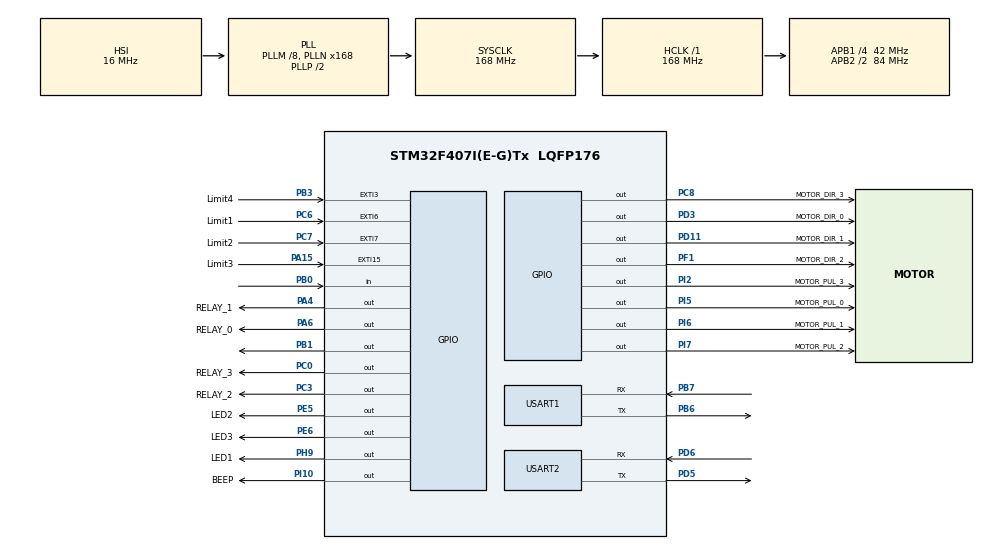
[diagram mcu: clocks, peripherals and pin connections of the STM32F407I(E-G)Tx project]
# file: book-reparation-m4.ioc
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FREERTOS.Tasks01=defaultTask,0,128,StartDefaultTask,Default,NULL,Dynamic,NULL,NULL;limitTask,-3,128,LimitTask,Default,NULL,Dynamic,NULL,NULL
Mcu.Family=STM32F4
Mcu.Name=STM32F407I(E-G)Tx
Mcu.Package=LQFP176
NVIC.EXTI15_10_IRQn=true\:5\:0\:false\:false\:true\:true\:true\:true
NVIC.EXTI3_IRQn=true\:5\:0\:false\:false\:true\:true\:true\:true
NVIC.EXTI9_5_IRQn=true\:5\:0\:true\:false\:true\:true\:true\:true
NVIC.PriorityGroup=NVIC_PRIORITYGROUP_4
NVIC.TIM4_IRQn=true\:0\:0\:false\:false\:true\:false\:false\:true
NVIC.TimeBase=TIM4_IRQn
NVIC.TimeBaseIP=TIM4
NVIC.USART1_IRQn=true\:5\:0\:true\:false\:true\:false\:true\:true
PA13.Mode=Serial_Wire
PA13.Signal=SYS_JTMS-SWDIO
PA14.Mode=Serial_Wire
PA14.Signal=SYS_JTCK-SWCLK
PA15.GPIO_Label=Limit3
PA15.GPIO_ModeDefaultEXTI=GPIO_MODE_IT_FALLING
PA15.GPIO_PuPd=GPIO_PULLUP
PA15.Signal=GPXTI15
PA4.GPIO_Label=RELAY_1
PA4.GPIO_Speed=GPIO_SPEED_FREQ_HIGH
PA4.Signal=GPIO_Output
PA6.GPIO_Label=RELAY_0
PA6.GPIO_Speed=GPIO_SPEED_FREQ_HIGH
PA6.Signal=GPIO_Output
PB0.GPIO_PuPd=GPIO_PULLUP
PB0.Signal=GPIO_Input
PB1.GPIO_PuPd=GPIO_NOPULL
PB1.GPIO_Speed=GPIO_SPEED_FREQ_HIGH
PB1.PinState=GPIO_PIN_RESET
PB1.Signal=GPIO_Output
PB3.GPIO_Label=Limit4
PB3.GPIO_ModeDefaultEXTI=GPIO_MODE_IT_FALLING
PB3.GPIO_PuPd=GPIO_PULLUP
PB3.Signal=GPXTI3
PB6.GPIO_Speed=GPIO_SPEED_FREQ_HIGH
PB6.Mode=Asynchronous
PB6.Signal=USART1_TX
PB7.GPIO_Speed=GPIO_SPEED_FREQ_HIGH
PB7.Mode=Asynchronous
PB7.Signal=USART1_RX
PC0.GPIO_Label=RELAY_3
PC0.GPIO_Speed=GPIO_SPEED_FREQ_HIGH
PC0.Signal=GPIO_Output
PC3.GPIO_Label=RELAY_2
PC3.GPIO_Speed=GPIO_SPEED_FREQ_HIGH
PC3.Signal=GPIO_Output
PC6.GPIO_Label=Limit1
PC6.GPIO_ModeDefaultEXTI=GPIO_MODE_IT_FALLING
PC6.GPIO_PuPd=GPIO_PULLUP
PC6.Signal=GPXTI6
PC7.GPIO_Label=Limit2
PC7.GPIO_ModeDefaultEXTI=GPIO_MODE_IT_FALLING
PC7.GPIO_PuPd=GPIO_PULLUP
PC7.Signal=GPXTI7
PC8.GPIO_Label=MOTOR_DIR_3
PC8.GPIO_Speed=GPIO_SPEED_FREQ_HIGH
PC8.PinState=GPIO_PIN_SET
PC8.Signal=GPIO_Output
PD11.GPIO_Label=MOTOR_DIR_1
PD11.GPIO_Speed=GPIO_SPEED_FREQ_HIGH
PD11.PinState=GPIO_PIN_SET
PD11.Signal=GPIO_Output
PD3.GPIO_Label=MOTOR_DIR_0
PD3.GPIO_Speed=GPIO_SPEED_FREQ_HIGH
PD3.PinState=GPIO_PIN_SET
PD3.Signal=GPIO_Output
PD5.Mode=Asynchronous
PD5.Signal=USART2_TX
PD6.Mode=Asynchronous
PD6.Signal=USART2_RX
PE5.GPIO_Label=LED2
PE5.GPIO_Speed=GPIO_SPEED_FREQ_HIGH
PE5.PinState=GPIO_PIN_SET
PE5.Signal=GPIO_Output
PE6.GPIO_Label=LED3
PE6.GPIO_Speed=GPIO_SPEED_FREQ_HIGH
PE6.PinState=GPIO_PIN_SET
PE6.Signal=GPIO_Output
PF1.GPIO_Label=MOTOR_DIR_2
PF1.GPIO_Speed=GPIO_SPEED_FREQ_HIGH
PF1.PinState=GPIO_PIN_SET
PF1.Signal=GPIO_Output
PH9.GPIO_Label=LED1
PH9.GPIO_Speed=GPIO_SPEED_FREQ_HIGH
PH9.PinState=GPIO_PIN_SET
PH9.Signal=GPIO_Output
PI10.GPIO_Label=BEEP
PI10.GPIO_Speed=GPIO_SPEED_FREQ_HIGH
PI10.PinState=GPIO_PIN_SET
PI10.Signal=GPIO_Output
PI2.GPIO_Label=MOTOR_PUL_3
PI2.GPIO_Speed=GPIO_SPEED_FREQ_HIGH
PI2.PinState=GPIO_PIN_SET
PI2.Signal=GPIO_Output
PI5.GPIO_Label=MOTOR_PUL_0
PI5.GPIO_Speed=GPIO_SPEED_FREQ_HIGH
PI5.PinState=GPIO_PIN_SET
PI5.Signal=GPIO_Output
PI6.GPIO_Label=MOTOR_PUL_1
PI6.GPIO_Speed=GPIO_SPEED_FREQ_HIGH
PI6.PinState=GPIO_PIN_SET
PI6.Signal=GPIO_Output
PI7.GPIO_Label=MOTOR_PUL_2
PI7.GPIO_Speed=GPIO_SPEED_FREQ_HIGH
PI7.PinState=GPIO_PIN_SET
PI7.Signal=GPIO_Output
ProjectManager.HeapSize=0x200
ProjectManager.StackSize=0x400
ProjectManager.TargetToolchain=MDK-ARM V5.27
RCC.48MHZClocksFreq_Value=84000000
RCC.AHBFreq_Value=168000000
RCC.APB1CLKDivider=RCC_HCLK_DIV4
RCC.APB1Freq_Value=42000000
RCC.APB1TimFreq_Value=84000000
RCC.APB2CLKDivider=RCC_HCLK_DIV2
RCC.APB2Freq_Value=84000000
RCC.APB2TimFreq_Value=168000000
RCC.CortexFreq_Value=168000000
RCC.HCLKFreq_Value=168000000
RCC.HSE_VALUE=25000000
RCC.HSI_VALUE=16000000
RCC.LSE_VALUE=32768
RCC.PLLM=8
RCC.PLLN=168
RCC.SYSCLKFreq_VALUE=168000000
RCC.SYSCLKSource=RCC_SYSCLKSOURCE_PLLCLK
RCC.VCOOutputFreq_Value=336000000
USART1.VirtualMode=VM_ASYNC
USART2.VirtualMode=VM_ASYNC
VP_FREERTOS_VS_CMSIS_V1.Mode=CMSIS_V1
VP_SYS_VS_tim4.Mode=TIM4
board=custom

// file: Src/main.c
/* USER CODE BEGIN Header */
/**
  ******************************************************************************
  * @file           : main.c
  * @brief          : Main program body
  ******************************************************************************
  * @attention
  *
  * <h2><center>&copy; Copyright (c) 2021 STMicroelectronics.
  * All rights reserved.</center></h2>
  *
  * This software component is licensed by ST under Ultimate Liberty license
  * SLA0044, the "License"; You may not use this file except in compliance with
  * the License. You may obtain a copy of the License at:
  *                             www.st.com/SLA0044
  *
  ******************************************************************************
  */
/* USER CODE END Header */

#include "main.h"
#include "cmsis_os.h"

/* USER CODE BEGIN Includes */
#include "bsp_steper.h"
/* USER CODE END Includes */

/* USER CODE BEGIN PM */
extern Stepper_TypeDef stepers[4];
/* USER CODE END PM */

UART_HandleTypeDef huart1;
UART_HandleTypeDef huart2;

osThreadId defaultTaskHandle;
osThreadId limitTaskHandle;

void SystemClock_Config(void);
static void MX_GPIO_Init(void);
static void MX_USART1_UART_Init(void);
static void MX_USART2_UART_Init(void);
void StartDefaultTask(void const * argument);
void LimitTask(void const * argument);

/* USER CODE BEGIN 0 */
extern uint8_t stopflag;
char *str;
void returnOrigin()
{
	while(stepers[0].stopFlag == 0){
		steperMove045mm(stepers[0], 0, 1000);
	}

	HAL_UART_Transmit_IT(&huart1, (uint8_t *)"step1 is up\n",13);

	while(stepers[1].stopFlag == 0){
		steperMove045mm(stepers[1], 1, 1000);
	}
	HAL_UART_Transmit_IT(&huart1, (uint8_t *)"step2 is up\t\n",13);

}
/* USER CODE END 0 */

int main(void)
{

  /* MCU Configuration--------------------------------------------------------*/

  /* Reset of all peripherals, Initializes the Flash interface and the Systick. */
  HAL_Init();

  /* Configure the system clock */
  SystemClock_Config();

  /* Initialize all configured peripherals */
  MX_GPIO_Init();
  MX_USART1_UART_Init();
  MX_USART2_UART_Init();
  /* USER CODE BEGIN 2 */
	delay_init(168);
	HAL_GPIO_WritePin(BEEP_GPIO_Port, BEEP_Pin, GPIO_PIN_RESET);
  /* USER CODE END 2 */

  /* Create the thread(s) */
  /* definition and creation of defaultTask */
  osThreadDef(defaultTask, StartDefaultTask, osPriorityNormal, 0, 128);
  defaultTaskHandle = osThreadCreate(osThread(defaultTask), NULL);

  /* definition and creation of limitTask */
  osThreadDef(limitTask, LimitTask, osPriorityIdle, 0, 128);
  limitTaskHandle = osThreadCreate(osThread(limitTask), NULL);

  /* Start scheduler */
  osKernelStart();

  /* We should never get here as control is now taken by the scheduler */
  /* Infinite loop */
  while (1)
  {

  }
}

void SystemClock_Config(void)
{
  RCC_OscInitTypeDef RCC_OscInitStruct = {0};
  RCC_ClkInitTypeDef RCC_ClkInitStruct = {0};

  /** Configure the main internal regulator output voltage
  */
  __HAL_RCC_PWR_CLK_ENABLE();
  __HAL_PWR_VOLTAGESCALING_CONFIG(PWR_REGULATOR_VOLTAGE_SCALE1);
  /** Initializes the CPU, AHB and APB busses clocks
  */
  RCC_OscInitStruct.OscillatorType = RCC_OSCILLATORTYPE_HSI;
  RCC_OscInitStruct.HSIState = RCC_HSI_ON;
  RCC_OscInitStruct.HSICalibrationValue = RCC_HSICALIBRATION_DEFAULT;
  RCC_OscInitStruct.PLL.PLLState = RCC_PLL_ON;
  RCC_OscInitStruct.PLL.PLLSource = RCC_PLLSOURCE_HSI;
  RCC_OscInitStruct.PLL.PLLM = 8;
  RCC_OscInitStruct.PLL.PLLN = 168;
  RCC_OscInitStruct.PLL.PLLP = RCC_PLLP_DIV2;
  RCC_OscInitStruct.PLL.PLLQ = 4;
  if (HAL_RCC_OscConfig(&RCC_OscInitStruct) != HAL_OK)
  {
    Error_Handler();
  }
  /** Initializes the CPU, AHB and APB busses clocks
  */
  RCC_ClkInitStruct.ClockType = RCC_CLOCKTYPE_HCLK|RCC_CLOCKTYPE_SYSCLK
                              |RCC_CLOCKTYPE_PCLK1|RCC_CLOCKTYPE_PCLK2;
  RCC_ClkInitStruct.SYSCLKSource = RCC_SYSCLKSOURCE_PLLCLK;
  RCC_ClkInitStruct.AHBCLKDivider = RCC_SYSCLK_DIV1;
  RCC_ClkInitStruct.APB1CLKDivider = RCC_HCLK_DIV4;
  RCC_ClkInitStruct.APB2CLKDivider = RCC_HCLK_DIV2;

  if (HAL_RCC_ClockConfig(&RCC_ClkInitStruct, FLASH_LATENCY_5) != HAL_OK)
  {
    Error_Handler();
  }
}

static void MX_USART1_UART_Init(void)
{

  huart1.Instance = USART1;
  huart1.Init.BaudRate = 115200;
  huart1.Init.WordLength = UART_WORDLENGTH_8B;
  huart1.Init.StopBits = UART_STOPBITS_1;
  huart1.Init.Parity = UART_PARITY_NONE;
  huart1.Init.Mode = UART_MODE_TX_RX;
  huart1.Init.HwFlowCtl = UART_HWCONTROL_NONE;
  huart1.Init.OverSampling = UART_OVERSAMPLING_16;
  if (HAL_UART_Init(&huart1) != HAL_OK)
  {
    Error_Handler();
  }

}

static void MX_USART2_UART_Init(void)
{

  huart2.Instance = USART2;
  huart2.Init.BaudRate = 115200;
  huart2.Init.WordLength = UART_WORDLENGTH_8B;
  huart2.Init.StopBits = UART_STOPBITS_1;
  huart2.Init.Parity = UART_PARITY_NONE;
  huart2.Init.Mode = UART_MODE_TX_RX;
  huart2.Init.HwFlowCtl = UART_HWCONTROL_NONE;
  huart2.Init.OverSampling = UART_OVERSAMPLING_16;
  if (HAL_UART_Init(&huart2) != HAL_OK)
  {
    Error_Handler();
  }

}

static void MX_GPIO_Init(void)
{
  GPIO_InitTypeDef GPIO_InitStruct = {0};

  /* GPIO Ports Clock Enable */
  __HAL_RCC_GPIOE_CLK_ENABLE();
  __HAL_RCC_GPIOI_CLK_ENABLE();
  __HAL_RCC_GPIOF_CLK_ENABLE();
  __HAL_RCC_GPIOC_CLK_ENABLE();
  __HAL_RCC_GPIOA_CLK_ENABLE();
  __HAL_RCC_GPIOB_CLK_ENABLE();
  __HAL_RCC_GPIOH_CLK_ENABLE();
  __HAL_RCC_GPIOD_CLK_ENABLE();

  /*Configure GPIO pin Output Level */
  HAL_GPIO_WritePin(GPIOE, LED2_Pin|LED3_Pin, GPIO_PIN_SET);

  /*Configure GPIO pin Output Level */
  HAL_GPIO_WritePin(GPIOI, BEEP_Pin|MOTOR_PUL_3_Pin|MOTOR_PUL_0_Pin|MOTOR_PUL_1_Pin
                          |MOTOR_PUL_2_Pin, GPIO_PIN_SET);

  /*Configure GPIO pin Output Level */
  HAL_GPIO_WritePin(MOTOR_DIR_2_GPIO_Port, MOTOR_DIR_2_Pin, GPIO_PIN_SET);

  /*Configure GPIO pin Output Level */
  HAL_GPIO_WritePin(GPIOC, RELAY_3_Pin|RELAY_2_Pin, GPIO_PIN_RESET);

  /*Configure GPIO pin Output Level */
  HAL_GPIO_WritePin(GPIOA, RELAY_1_Pin|RELAY_0_Pin, GPIO_PIN_RESET);

  /*Configure GPIO pin Output Level */
  HAL_GPIO_WritePin(GPIOB, GPIO_PIN_1, GPIO_PIN_RESET);

  /*Configure GPIO pin Output Level */
  HAL_GPIO_WritePin(LED1_GPIO_Port, LED1_Pin, GPIO_PIN_SET);

  /*Configure GPIO pin Output Level */
  HAL_GPIO_WritePin(GPIOD, MOTOR_DIR_1_Pin|MOTOR_DIR_0_Pin, GPIO_PIN_SET);

  /*Configure GPIO pin Output Level */
  HAL_GPIO_WritePin(MOTOR_DIR_3_GPIO_Port, MOTOR_DIR_3_Pin, GPIO_PIN_SET);

  /*Configure GPIO pins : LED2_Pin LED3_Pin */
  GPIO_InitStruct.Pin = LED2_Pin|LED3_Pin;
  GPIO_InitStruct.Mode = GPIO_MODE_OUTPUT_PP;
  GPIO_InitStruct.Pull = GPIO_NOPULL;
  GPIO_InitStruct.Speed = GPIO_SPEED_FREQ_HIGH;
  HAL_GPIO_Init(GPIOE, &GPIO_InitStruct);

  /*Configure GPIO pins : BEEP_Pin MOTOR_PUL_3_Pin MOTOR_PUL_0_Pin MOTOR_PUL_1_Pin
                           MOTOR_PUL_2_Pin */
  GPIO_InitStruct.Pin = BEEP_Pin|MOTOR_PUL_3_Pin|MOTOR_PUL_0_Pin|MOTOR_PUL_1_Pin
                          |MOTOR_PUL_2_Pin;
  GPIO_InitStruct.Mode = GPIO_MODE_OUTPUT_PP;
  GPIO_InitStruct.Pull = GPIO_NOPULL;
  GPIO_InitStruct.Speed = GPIO_SPEED_FREQ_HIGH;
  HAL_GPIO_Init(GPIOI, &GPIO_InitStruct);

  /*Configure GPIO pin : MOTOR_DIR_2_Pin */
  GPIO_InitStruct.Pin = MOTOR_DIR_2_Pin;
  GPIO_InitStruct.Mode = GPIO_MODE_OUTPUT_PP;
  GPIO_InitStruct.Pull = GPIO_NOPULL;
  GPIO_InitStruct.Speed = GPIO_SPEED_FREQ_HIGH;
  HAL_GPIO_Init(MOTOR_DIR_2_GPIO_Port, &GPIO_InitStruct);

  /*Configure GPIO pins : RELAY_3_Pin RELAY_2_Pin MOTOR_DIR_3_Pin */
  GPIO_InitStruct.Pin = RELAY_3_Pin|RELAY_2_Pin|MOTOR_DIR_3_Pin;
  GPIO_InitStruct.Mode = GPIO_MODE_OUTPUT_PP;
  GPIO_InitStruct.Pull = GPIO_NOPULL;
  GPIO_InitStruct.Speed = GPIO_SPEED_FREQ_HIGH;
  HAL_GPIO_Init(GPIOC, &GPIO_InitStruct);

  /*Configure GPIO pins : RELAY_1_Pin RELAY_0_Pin */
  GPIO_InitStruct.Pin = RELAY_1_Pin|RELAY_0_Pin;
  GPIO_InitStruct.Mode = GPIO_MODE_OUTPUT_PP;
  GPIO_InitStruct.Pull = GPIO_NOPULL;
  GPIO_InitStruct.Speed = GPIO_SPEED_FREQ_HIGH;
  HAL_GPIO_Init(GPIOA, &GPIO_InitStruct);

  /*Configure GPIO pin : PB0 */
  GPIO_InitStruct.Pin = GPIO_PIN_0;
  GPIO_InitStruct.Mode = GPIO_MODE_INPUT;
  GPIO_InitStruct.Pull = GPIO_PULLUP;
  HAL_GPIO_Init(GPIOB, &GPIO_InitStruct);

  /*Configure GPIO pin : PB1 */
  GPIO_InitStruct.Pin = GPIO_PIN_1;
  GPIO_InitStruct.Mode = GPIO_MODE_OUTPUT_PP;
  GPIO_InitStruct.Pull = GPIO_NOPULL;
  GPIO_InitStruct.Speed = GPIO_SPEED_FREQ_HIGH;
  HAL_GPIO_Init(GPIOB, &GPIO_InitStruct);

  /*Configure GPIO pin : LED1_Pin */
  GPIO_InitStruct.Pin = LED1_Pin;
  GPIO_InitStruct.Mode = GPIO_MODE_OUTPUT_PP;
  GPIO_InitStruct.Pull = GPIO_NOPULL;
  GPIO_InitStruct.Speed = GPIO_SPEED_FREQ_HIGH;
  HAL_GPIO_Init(LED1_GPIO_Port, &GPIO_InitStruct);

  /*Configure GPIO pins : MOTOR_DIR_1_Pin MOTOR_DIR_0_Pin */
  GPIO_InitStruct.Pin = MOTOR_DIR_1_Pin|MOTOR_DIR_0_Pin;
  GPIO_InitStruct.Mode = GPIO_MODE_OUTPUT_PP;
  GPIO_InitStruct.Pull = GPIO_NOPULL;
  GPIO_InitStruct.Speed = GPIO_SPEED_FREQ_HIGH;
  HAL_GPIO_Init(GPIOD, &GPIO_InitStruct);

  /*Configure GPIO pins : Limit1_Pin Limit2_Pin */
  GPIO_InitStruct.Pin = Limit1_Pin|Limit2_Pin;
  GPIO_InitStruct.Mode = GPIO_MODE_IT_FALLING;
  GPIO_InitStruct.Pull = GPIO_PULLUP;
  HAL_GPIO_Init(GPIOC, &GPIO_InitStruct);

  /*Configure GPIO pin : Limit3_Pin */
  GPIO_InitStruct.Pin = Limit3_Pin;
  GPIO_InitStruct.Mode = GPIO_MODE_IT_FALLING;
  GPIO_InitStruct.Pull = GPIO_PULLUP;
  HAL_GPIO_Init(Limit3_GPIO_Port, &GPIO_InitStruct);

  /*Configure GPIO pin : Limit4_Pin */
  GPIO_InitStruct.Pin = Limit4_Pin;
  GPIO_InitStruct.Mode = GPIO_MODE_IT_FALLING;
  GPIO_InitStruct.Pull = GPIO_PULLUP;
  HAL_GPIO_Init(Limit4_GPIO_Port, &GPIO_InitStruct);

  /* EXTI interrupt init*/
  HAL_NVIC_SetPriority(EXTI3_IRQn, 5, 0);
  HAL_NVIC_EnableIRQ(EXTI3_IRQn);

  HAL_NVIC_SetPriority(EXTI9_5_IRQn, 5, 0);
  HAL_NVIC_EnableIRQ(EXTI9_5_IRQn);

  HAL_NVIC_SetPriority(EXTI15_10_IRQn, 5, 0);
  HAL_NVIC_EnableIRQ(EXTI15_10_IRQn);

}

void StartDefaultTask(void const * argument)
{
  /* USER CODE BEGIN 5 */
	HAL_GPIO_WritePin(BEEP_GPIO_Port, BEEP_Pin, GPIO_PIN_RESET);
	osDelay(1000);
	HAL_GPIO_WritePin(BEEP_GPIO_Port, BEEP_Pin, GPIO_PIN_SET);
	osDelay(200);
	HAL_GPIO_WritePin(BEEP_GPIO_Port, BEEP_Pin, GPIO_PIN_RESET);
	osDelay(200);

	HAL_GPIO_WritePin(RELAY_0_GPIO_Port, RELAY_0_Pin, GPIO_PIN_RESET);  // RELAY_0 ����, RELAY_1 ����, RELAY_2 ��ˮ RELAY_3 �����

	// returnOrigin();

	// steperMove(1, 0, 1000, 450);
	str = malloc(20);
	sprintf(str, "Y distance=[%0.3f]\t\n", stepers[1].distance);
	HAL_UART_Transmit_IT(&huart1, (uint8_t *)str, 20);
	free(str);
	str = NULL;

	// steperMove(0, 1, 1000, 450);
	str = malloc(20);
	sprintf(str, "X distance=[%0.3f]\t\n", stepers[0].distance);
	HAL_UART_Transmit_IT(&huart1, (uint8_t *)str, 20);
	free(str);
	str = NULL;

  /* Infinite loop */
  for(;;)
  {
		HAL_GPIO_WritePin(LED1_GPIO_Port, LED1_Pin, GPIO_PIN_RESET);
    osDelay(1000);
		HAL_GPIO_WritePin(LED1_GPIO_Port, LED1_Pin, GPIO_PIN_SET);
		osDelay(1000);

//		HAL_GPIO_WritePin(GPIOB, GPIO_PIN_1, GPIO_PIN_SET);
//		steper_move(steper[2], 0, 2000, 90);
//		steper_move(steper[3], 0, 2000, 90);
//		steper_move(steper[2], 1, 2000, 90);
//		steper_move(steper[3], 1, 2000, 90);
		HAL_GPIO_WritePin(GPIOB, GPIO_PIN_1, GPIO_PIN_RESET);

//		steper_move(steper[0], 0, 10, 90);
//		steper_move(steper[1], 0, 10, 90);
//		steper_move(steper[0], 1, 10, 90);
//		steper_move(steper[1], 1, 10, 90);
  }
  /* USER CODE END 5 */
}

void LimitTask(void const * argument)
{
  /* USER CODE BEGIN LimitTask */
	uint8_t str[13] = "Helloworld\r\n";
	HAL_UART_Transmit_IT(&huart1, str,13);
  /* Infinite loop */
  for(;;)
  {

		osDelay(10);
  }
  /* USER CODE END LimitTask */
}

 /**
  * @brief  Period elapsed callback in non blocking mode
  * @note   This function is called  when TIM4 interrupt took place, inside
  * HAL_TIM_IRQHandler(). It makes a direct call to HAL_IncTick() to increment
  * a global variable "uwTick" used as application time base.
  * @param  htim : TIM handle
  * @retval None
  */
void HAL_TIM_PeriodElapsedCallback(TIM_HandleTypeDef *htim)
{
  if (htim->Instance == TIM4) {
    HAL_IncTick();
  }
}

void Error_Handler(void)
{
}

/************************ (C) COPYRIGHT STMicroelectronics *****END OF FILE****/
